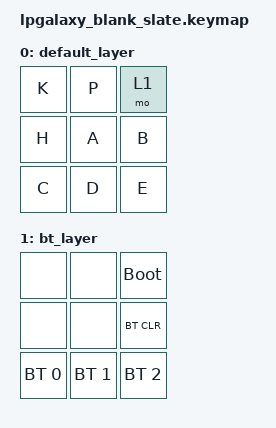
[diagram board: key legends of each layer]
#include <behaviors.dtsi>
#include <dt-bindings/zmk/keys.h>
#include <dt-bindings/zmk/bt.h>

/ {
    keymap {
        compatible = "zmk,keymap";
        default_layer {
            bindings = <
                &kp K     &kp P      &mo 1
                &kp H     &kp A      &kp B
                &kp C     &kp D      &kp E
            >;
        };

        bt_layer {
            bindings = <
                &none               &none               &bootloader
                &none               &none               &bt BT_CLR
                &bt BT_SEL 0        &bt BT_SEL 1        &bt BT_SEL 2
            >;
        };
    };
};
